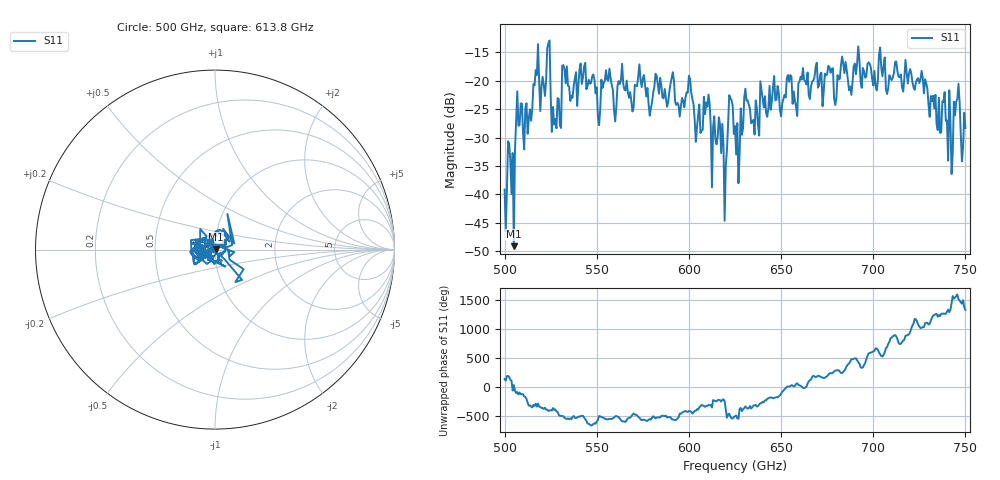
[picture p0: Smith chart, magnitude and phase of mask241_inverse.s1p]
!Created with skrf (http://scikit-rf.org).
# GHz S MA R 50.0
!freq magS11 angS11
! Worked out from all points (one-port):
!   401 points, 500 GHz to 750 GHz, reference 50 ohm
!   lowest |S11| = -49.1 dB at 505 GHz (marker M1), VSWR 1.01, Z = 50.3 + j0.168 ohm
!   |S11| at or under -10 dB: start of sweep to end of sweep
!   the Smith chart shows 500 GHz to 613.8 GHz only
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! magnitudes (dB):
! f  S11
! 500 GHz  -39.1
! 503.1 GHz  -34.2
! 505 GHz  -49.1
! 507.5 GHz  -27.9
! 513.8 GHz  -25.0
! 516.9 GHz  -18.1
! 520.6 GHz  -19.3
! 523.8 GHz  -13.4
! 526.9 GHz  -27.7
! 531.2 GHz  -17.4
! 542.5 GHz  -19.4
! 550.6 GHz  -26.4
! 562.5 GHz  -20.6
! 593.8 GHz  -23.9
! 609.4 GHz  -23.8
! 618.8 GHz  -31.3
! 622.5 GHz  -23.0
! 625 GHz  -28.0
! 656.2 GHz  -24.0
! 680 GHz  -23.1
! 683.8 GHz  -17.0
! 687.5 GHz  -21.0
! 691.2 GHz  -17.0
! 718.8 GHz  -20.5
! 738.8 GHz  -22.0
! 741.9 GHz  -27.2
! 745 GHz  -23.7
! 750 GHz  -28.3
